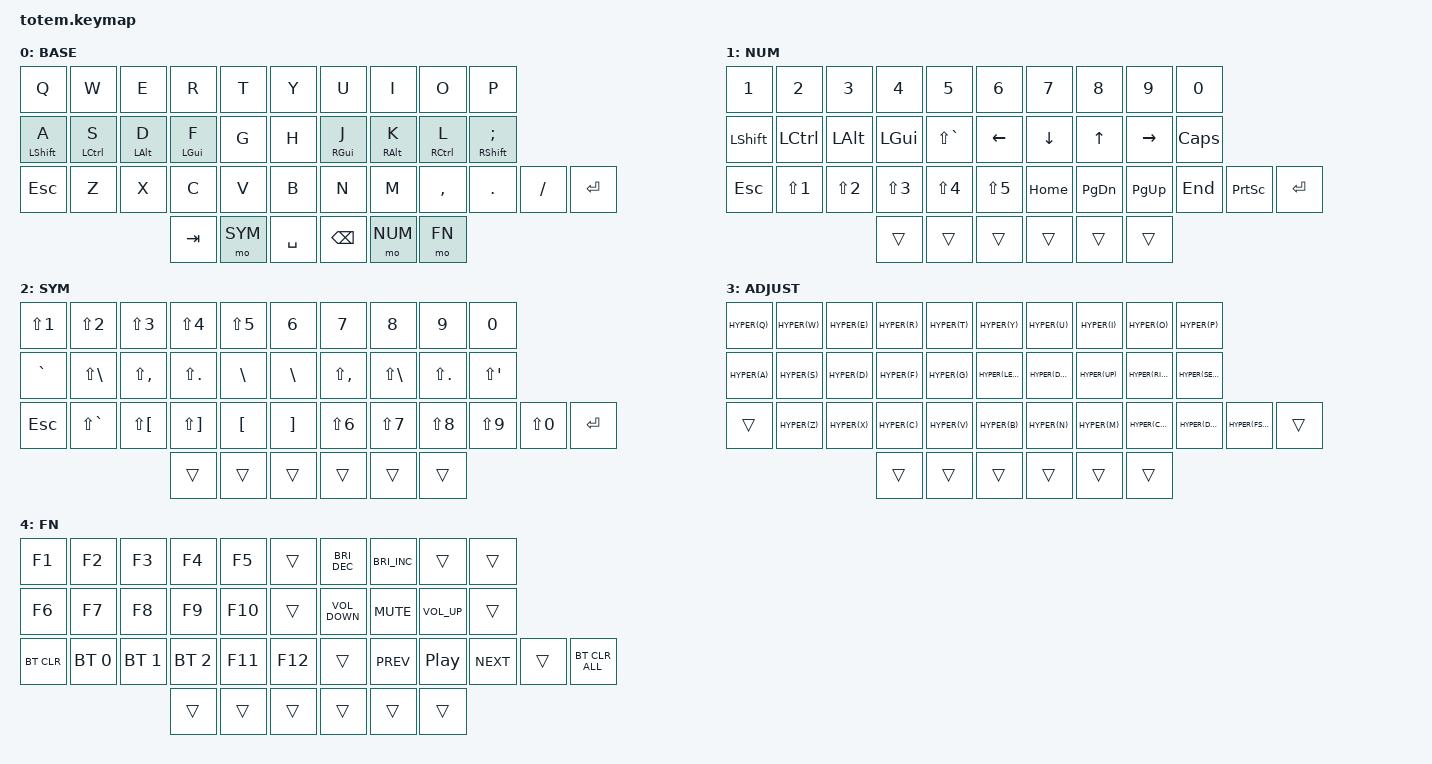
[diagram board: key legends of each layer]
#include <behaviors.dtsi>
#include <dt-bindings/zmk/bt.h>
#include <dt-bindings/zmk/keys.h>
#include <dt-bindings/zmk/outputs.h>

#define BASE 0
#define NUM 1
#define SYM 2
#define ADJUST 3
#define FN 4

#define QUICK_TAP_MS 175
#define HYPER(key) LC(LA(LG(key)))

#define KEYS_L 0 1 2 3 4 10 11 12 13 14 20 21 22 23 24 25
#define KEYS_R 5 6 7 8 9 15 16 17 18 19 26 27 28 29 30 31
#define THUMBS 32 33 34 35 36 37

/ {
    behaviors {
        hml: home_row_mod_left {
            compatible = "zmk,behavior-hold-tap";
            #binding-cells = <2>;
            flavor = "balanced";
            tapping-term-ms = <280>;
            quick-tap-ms = <QUICK_TAP_MS>;
            require-prior-idle-ms = <150>;
            bindings = <&kp>, <&kp>;
            hold-trigger-key-positions = <KEYS_R THUMBS>;
            hold-trigger-on-release;
        };

        hmr: home_row_mod_right {
            compatible = "zmk,behavior-hold-tap";
            #binding-cells = <2>;
            flavor = "balanced";
            tapping-term-ms = <280>;
            quick-tap-ms = <QUICK_TAP_MS>;
            require-prior-idle-ms = <150>;
            bindings = <&kp>, <&kp>;
            hold-trigger-key-positions = <KEYS_L THUMBS>;
            hold-trigger-on-release;
        };
    };

    combos {
        compatible = "zmk,combos";

        // Переключение раскладки ОС. Раньше шло через поведение zmk-ruen;
        // теперь это просто Cmd+Space — модуль удалён.
        combo_language_toggle {
            timeout-ms = <35>;
            require-prior-idle-ms = <150>;
            key-positions = <34 35>;
            bindings = <&kp LG(SPACE)>;
        };

        combo_left_thumb_quotes {
            timeout-ms = <45>;
            require-prior-idle-ms = <125>;
            key-positions = <32 33 34>;
            bindings = <&kp APOS>;
        };

        combo_right_thumb_apostrophe {
            timeout-ms = <45>;
            require-prior-idle-ms = <125>;
            key-positions = <35 36 37>;
            bindings = <&kp LS(APOS)>;
        };

        // --- Скобки: внешние пары на верхнем/нижнем ряду -----------------
        combo_left_bracket {
            timeout-ms = <45>;
            require-prior-idle-ms = <125>;
            key-positions = <3 4>;
            layers = <BASE>;
            bindings = <&kp LBKT>;
        };

        combo_left_paren {
            timeout-ms = <45>;
            require-prior-idle-ms = <125>;
            key-positions = <13 14>;
            layers = <BASE>;
            bindings = <&kp LS(N9)>;
        };

        combo_left_brace {
            timeout-ms = <45>;
            require-prior-idle-ms = <125>;
            key-positions = <24 25>;
            layers = <BASE>;
            bindings = <&kp LS(LBKT)>;
        };

        combo_right_bracket {
            timeout-ms = <45>;
            require-prior-idle-ms = <125>;
            key-positions = <5 6>;
            layers = <BASE>;
            bindings = <&kp RBKT>;
        };

        combo_right_paren {
            timeout-ms = <45>;
            require-prior-idle-ms = <125>;
            key-positions = <15 16>;
            layers = <BASE>;
            bindings = <&kp LS(N0)>;
        };

        combo_right_brace {
            timeout-ms = <45>;
            require-prior-idle-ms = <125>;
            key-positions = <26 27>;
            layers = <BASE>;
            bindings = <&kp LS(RBKT)>;
        };

        // --- Пунктуация правой руки -------------------------------------
        combo_colon {
            timeout-ms = <45>;
            require-prior-idle-ms = <125>;
            key-positions = <6 7>;
            layers = <BASE>;
            bindings = <&kp LS(SEMI)>;
        };

        combo_semicolon {
            timeout-ms = <45>;
            require-prior-idle-ms = <125>;
            key-positions = <7 8>;
            layers = <BASE>;
            bindings = <&kp SEMI>;
        };

        combo_apostrophe {
            timeout-ms = <45>;
            require-prior-idle-ms = <125>;
            key-positions = <8 9>;
            layers = <BASE>;
            bindings = <&kp APOS>;
        };

        // --- Математика: вертикальные пары ------------------------------
        // + на левой руке (R+G), = на правой (U+H).
        combo_plus {
            timeout-ms = <45>;
            require-prior-idle-ms = <125>;
            key-positions = <3 14>;
            layers = <BASE>;
            bindings = <&kp LS(EQUAL)>;
        };

        combo_equal {
            timeout-ms = <45>;
            require-prior-idle-ms = <125>;
            key-positions = <6 15>;
            layers = <BASE>;
            bindings = <&kp EQUAL>;
        };

        combo_minus {
            timeout-ms = <45>;
            require-prior-idle-ms = <125>;
            key-positions = <2 3>;
            layers = <BASE>;
            bindings = <&kp MINUS>;
        };

        combo_underscore {
            timeout-ms = <45>;
            require-prior-idle-ms = <125>;
            key-positions = <1 2>;
            layers = <BASE>;
            bindings = <&kp LS(MINUS)>;
        };

        combo_grave {
            timeout-ms = <45>;
            require-prior-idle-ms = <125>;
            key-positions = <0 1>;
            layers = <BASE>;
            bindings = <&kp GRAVE>;
        };
    };

    keymap {
        compatible = "zmk,keymap";

        base {
            label = "BASE";
            bindings = <
                &kp Q          &kp W          &kp E          &kp R          &kp T          &kp Y          &kp U          &kp I          &kp O          &kp P
                &hml LSHFT A   &hml LCTRL S   &hml LALT D    &hml LGUI F    &kp G          &kp H          &hmr RGUI J   &hmr RALT K   &hmr RCTRL L  &hmr RSHFT SEMI
                &kp ESC        &kp Z          &kp X          &kp C          &kp V          &kp B          &kp N          &kp M          &kp COMMA      &kp DOT        &kp FSLH       &kp ENTER
                                                            &kp TAB        &mo SYM        &kp SPACE      &kp BSPC       &mo NUM        &mo FN
            >;
        };

        num {
            label = "NUM";
            bindings = <
                &kp N1         &kp N2         &kp N3         &kp N4         &kp N5         &kp N6         &kp N7         &kp N8         &kp N9         &kp N0
                &kp LSHFT      &kp LCTRL      &kp LALT       &kp LGUI       &kp LS(GRAVE)  &kp LEFT       &kp DOWN       &kp UP         &kp RIGHT      &kp CAPS
                &kp ESC        &kp LS(N1)     &kp LS(N2)     &kp LS(N3)     &kp LS(N4)     &kp LS(N5)     &kp HOME       &kp PAGE_DOWN  &kp PAGE_UP    &kp END        &kp PSCRN      &kp ENTER
                                                            &trans         &trans         &trans         &trans         &trans         &trans
            >;
        };

        /*
         * SYM — символьный слой (удерживается ЛЕВЫМ большим пальцем).
         *
         *      !  @  #  $  %   |   6  7  8  9  0
         *      `  |  <  >  \   |   \  <  |  >  "
         *  ESC ~  {  }  [  ]   |   ^  &  *  (  )  ENTER
         */
        sym {
            label = "SYM";
            bindings = <
                &kp LS(N1)     &kp LS(N2)     &kp LS(N3)     &kp LS(N4)     &kp LS(N5)     &kp N6         &kp N7         &kp N8         &kp N9         &kp N0
                &kp GRAVE      &kp LS(BSLH)   &kp LS(COMMA)  &kp LS(DOT)    &kp BSLH       &kp BSLH       &kp LS(COMMA)  &kp LS(BSLH)   &kp LS(DOT)    &kp LS(APOS)
                &kp ESC        &kp LS(GRAVE)  &kp LS(LBKT)   &kp LS(RBKT)   &kp LBKT       &kp RBKT       &kp LS(N6)     &kp LS(N7)     &kp LS(N8)     &kp LS(N9)     &kp LS(N0)     &kp ENTER
                                                            &trans         &trans         &trans         &trans         &trans         &trans
            >;
        };

        // ADJUST (обе средние клавиши) — Ctrl+Option+Cmd + клавиша.
        // hjkl на правой руке — стрелки для управления окнами.
        adjust {
            label = "ADJUST";
            bindings = <
                &kp HYPER(Q)   &kp HYPER(W)   &kp HYPER(E)   &kp HYPER(R)   &kp HYPER(T)   &kp HYPER(Y)   &kp HYPER(U)   &kp HYPER(I)   &kp HYPER(O)   &kp HYPER(P)
                &kp HYPER(A)   &kp HYPER(S)   &kp HYPER(D)   &kp HYPER(F)   &kp HYPER(G)   &kp HYPER(LEFT) &kp HYPER(DOWN) &kp HYPER(UP) &kp HYPER(RIGHT) &kp HYPER(SEMI)
                &trans         &kp HYPER(Z)   &kp HYPER(X)   &kp HYPER(C)   &kp HYPER(V)   &kp HYPER(B)   &kp HYPER(N)   &kp HYPER(M)   &kp HYPER(COMMA) &kp HYPER(DOT) &kp HYPER(FSLH) &trans
                                                            &trans         &trans         &trans         &trans         &trans         &trans
            >;
        };

        // FN (крайняя правая клавиша правого большого пальца) — F-клавиши, медиа, Bluetooth.
        fn {
            label = "FN";
            bindings = <
                &kp F1         &kp F2         &kp F3         &kp F4         &kp F5         &trans         &kp C_BRI_DEC  &kp C_BRI_INC  &trans         &trans
                &kp F6         &kp F7         &kp F8         &kp F9         &kp F10        &trans         &kp C_VOLUME_DOWN &kp C_MUTE  &kp C_VOLUME_UP &trans
                &bt BT_CLR     &bt BT_SEL 0   &bt BT_SEL 1   &bt BT_SEL 2   &kp F11        &kp F12        &trans         &kp C_PREV     &kp C_PLAY_PAUSE &kp C_NEXT  &trans         &bt BT_CLR_ALL
                                                            &trans         &trans         &trans         &trans         &trans         &trans
            >;
        };

        extra1 { status = "reserved"; };
        extra2 { status = "reserved"; };
        extra3 { status = "reserved"; };
    };

    conditional_layers {
        compatible = "zmk,conditional-layers";

        adjust {
            if-layers = <NUM SYM>;
            then-layer = <ADJUST>;
        };
    };
};
